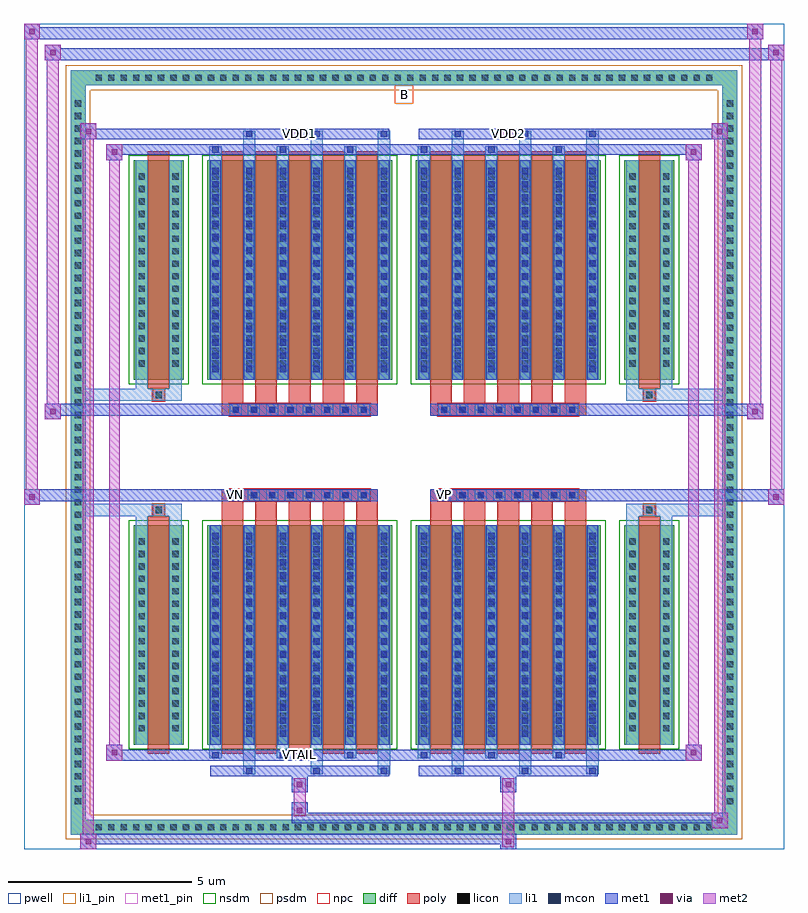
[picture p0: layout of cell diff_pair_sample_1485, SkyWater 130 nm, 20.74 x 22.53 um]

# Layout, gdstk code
import gdstk
lib = gdstk.Library(unit=1e-6, precision=5e-09)
def R(c, l, rs):  # rectangles x0, y0, x1, y1
    for r in rs: c.add(gdstk.rectangle(r[:2], r[2:], *l))
def A(c, l, x, y, w, h, nx, ny, dx, dy):  # array of equal rectangles
    R(c, l, [(x+i*dx, y+j*dy, x+i*dx+w, y+j*dy+h) for i in range(nx) for j in range(ny)])
def P(c, l, *ps):  # polygons
    for p in ps: c.add(gdstk.Polygon(p, *l))
pwell = (64, 44)
diff = (65, 20)
poly = (66, 20)
licon = (66, 44)
li1_pin = (67, 16)
li1 = (67, 20)
mcon = (67, 44)
met1_pin = (68, 16)
met1 = (68, 20)
via = (68, 44)
met2 = (69, 20)
nsdm = (93, 44)
psdm = (94, 20)
npc = (95, 20)

diff_pair_sample_1485 = lib.new_cell('diff_pair_sample_1485')
R(diff_pair_sample_1485, pwell, [(-10.37,-10.83,10.37,11.7), (-7.69,-9.02,-0.01,-0.8), (0.01,-9.02,7.69,-0.8), (-7.69,0.8,-0.01,9.02), (0.01,0.8,7.69,9.02)])
A(diff_pair_sample_1485, diff, -8.535, -10.43, 0.41, 0.41, 50, 2, 0.34, 20.45)
A(diff_pair_sample_1485, diff, -9.1, -9.725, 0.41, 0.41, 1, 57, 0, 0.34)
A(diff_pair_sample_1485, diff, 8.69, -9.725, 0.41, 0.41, 1, 57, 0, 0.34)
R(diff_pair_sample_1485, diff, [(-8.535,-10.43,8.535,-10.02), (-9.1,-9.725,-8.69,9.725), (8.69,-9.725,9.1,9.725), (-7.38,-7.975,-6.01,-1.985), (-5.37,-7.975,-0.32,-1.985), (0.32,-7.975,5.37,-1.985), (6.01,-7.975,7.38,-1.985), (-7.38,1.985,-6.01,7.975), (-5.37,1.985,-0.32,7.975), (0.32,1.985,5.37,7.975), (6.01,1.985,7.38,7.975), (-8.535,10.02,8.535,10.43)])
P(diff_pair_sample_1485, diff, [(9.1,10.43),(-9.1,10.43),(-9.1,-10.02),(-8.69,-10.02),(-8.69,10.02),(8.69,10.02),(8.69,-10.02),(-8.69,-10.02),(-9.1,-10.02),(-9.1,-10.43),(9.1,-10.43)])
A(diff_pair_sample_1485, poly, -4.98, -8.225, 0.59, 6.49, 5, 2, 0.92, 9.96)
A(diff_pair_sample_1485, poly, 0.71, -8.225, 0.59, 6.49, 5, 2, 0.92, 9.96)
A(diff_pair_sample_1485, poly, -4.98, -1.735, 0.59, 0.405, 5, 2, 0.92, 3.065)
A(diff_pair_sample_1485, poly, 0.71, -1.735, 0.59, 0.405, 5, 2, 0.92, 3.065)
A(diff_pair_sample_1485, poly, -4.76, -1.33, 0.33, 0.33, 8, 2, 0.5, 2.33)
A(diff_pair_sample_1485, poly, 0.93, -1.33, 0.33, 0.33, 8, 2, 0.5, 2.33)
R(diff_pair_sample_1485, poly, [(-6.99,-8.225,-6.4,-1.735), (6.4,-8.225,6.99,-1.735), (-6.86,-1.735,-6.53,-1.405), (-6.86,-1.735,-6.53,-1.405), (6.53,-1.735,6.86,-1.405), (6.53,-1.735,6.86,-1.405), (-4.98,-1.33,-0.71,-1), (0.71,-1.33,4.98,-1), (-4.98,1,-0.71,1.33), (0.71,1,4.98,1.33), (-6.86,1.405,-6.53,1.735), (-6.86,1.405,-6.53,1.735), (6.53,1.405,6.86,1.735), (6.53,1.405,6.86,1.735), (-6.99,1.735,-6.4,8.225), (6.4,1.735,6.99,8.225)])
A(diff_pair_sample_1485, licon, -8.415, -10.31, 0.17, 0.17, 50, 2, 0.34, 20.45)
A(diff_pair_sample_1485, licon, -8.98, -9.605, 0.17, 0.17, 1, 57, 0, 0.34)
A(diff_pair_sample_1485, licon, 8.81, -9.605, 0.17, 0.17, 1, 57, 0, 0.34)
A(diff_pair_sample_1485, licon, -7.24, -7.615, 0.17, 0.17, 1, 16, 0, 0.34)
A(diff_pair_sample_1485, licon, -6.32, -7.615, 0.17, 0.17, 1, 16, 0, 0.34)
A(diff_pair_sample_1485, licon, -5.23, -7.615, 0.17, 0.17, 6, 16, 0.92, 0.34)
A(diff_pair_sample_1485, licon, 0.46, -7.615, 0.17, 0.17, 6, 16, 0.92, 0.34)
A(diff_pair_sample_1485, licon, 6.15, -7.615, 0.17, 0.17, 1, 16, 0, 0.34)
A(diff_pair_sample_1485, licon, 7.07, -7.615, 0.17, 0.17, 1, 16, 0, 0.34)
A(diff_pair_sample_1485, licon, -4.68, -1.25, 0.17, 0.17, 8, 2, 0.5, 2.33)
A(diff_pair_sample_1485, licon, 1.01, -1.25, 0.17, 0.17, 8, 2, 0.5, 2.33)
A(diff_pair_sample_1485, licon, -7.24, 2.345, 0.17, 0.17, 1, 16, 0, 0.34)
A(diff_pair_sample_1485, licon, -6.32, 2.345, 0.17, 0.17, 1, 16, 0, 0.34)
A(diff_pair_sample_1485, licon, -5.23, 2.345, 0.17, 0.17, 6, 16, 0.92, 0.34)
A(diff_pair_sample_1485, licon, 0.46, 2.345, 0.17, 0.17, 6, 16, 0.92, 0.34)
A(diff_pair_sample_1485, licon, 6.15, 2.345, 0.17, 0.17, 1, 16, 0, 0.34)
A(diff_pair_sample_1485, licon, 7.07, 2.345, 0.17, 0.17, 1, 16, 0, 0.34)
R(diff_pair_sample_1485, licon, [(-6.78,-1.655,-6.61,-1.485), (6.61,-1.655,6.78,-1.485), (-6.78,1.485,-6.61,1.655), (6.61,1.485,6.78,1.655)])
R(diff_pair_sample_1485, li1_pin, [(-0.25,9.52,0.25,10.02)])
A(diff_pair_sample_1485, li1, -8.495, -10.39, 0.33, 0.33, 50, 2, 0.34, 20.45)
A(diff_pair_sample_1485, li1, -9.06, -9.685, 0.33, 0.33, 1, 57, 0, 0.34)
A(diff_pair_sample_1485, li1, 8.73, -9.685, 0.33, 0.33, 1, 57, 0, 0.34)
A(diff_pair_sample_1485, li1, -4.39, -8.78, 0.33, 0.805, 3, 2, 1.84, 16.755)
A(diff_pair_sample_1485, li1, -4.31, -8.78, 0.17, 0.17, 3, 2, 1.84, 17.39)
A(diff_pair_sample_1485, li1, 1.3, -8.78, 0.33, 0.805, 3, 2, 1.84, 16.755)
A(diff_pair_sample_1485, li1, 1.38, -8.78, 0.17, 0.17, 3, 2, 1.84, 17.39)
A(diff_pair_sample_1485, li1, -5.31, -8.35, 0.33, 0.375, 3, 2, 1.84, 16.325)
A(diff_pair_sample_1485, li1, -5.23, -8.35, 0.17, 0.17, 3, 2, 1.84, 16.53)
A(diff_pair_sample_1485, li1, 0.38, -8.35, 0.33, 0.375, 3, 2, 1.84, 16.325)
A(diff_pair_sample_1485, li1, 0.46, -8.35, 0.17, 0.17, 3, 2, 1.84, 16.53)
A(diff_pair_sample_1485, li1, -5.31, -7.975, 0.33, 5.99, 6, 2, 0.92, 9.96)
A(diff_pair_sample_1485, li1, 0.38, -7.975, 0.33, 5.99, 6, 2, 0.92, 9.96)
A(diff_pair_sample_1485, li1, -5.23, -7.765, 0.17, 0.17, 6, 16, 0.92, 0.36)
A(diff_pair_sample_1485, li1, -5.23, -7.765, 0.17, 5.57, 6, 2, 0.92, 9.96)
A(diff_pair_sample_1485, li1, 0.46, -7.765, 0.17, 0.17, 6, 16, 0.92, 0.36)
A(diff_pair_sample_1485, li1, 0.46, -7.765, 0.17, 5.57, 6, 2, 0.92, 9.96)
A(diff_pair_sample_1485, li1, -7.32, -7.695, 0.33, 0.33, 1, 16, 0, 0.34)
A(diff_pair_sample_1485, li1, -6.4, -7.695, 0.33, 0.33, 1, 16, 0, 0.34)
A(diff_pair_sample_1485, li1, -5.31, -7.695, 0.33, 0.33, 6, 16, 0.92, 0.34)
A(diff_pair_sample_1485, li1, 0.38, -7.695, 0.33, 0.33, 6, 16, 0.92, 0.34)
A(diff_pair_sample_1485, li1, 6.07, -7.695, 0.33, 0.33, 1, 16, 0, 0.34)
A(diff_pair_sample_1485, li1, 6.99, -7.695, 0.33, 0.33, 1, 16, 0, 0.34)
A(diff_pair_sample_1485, li1, -4.76, -1.33, 0.33, 0.33, 8, 2, 0.5, 2.33)
A(diff_pair_sample_1485, li1, 0.93, -1.33, 0.33, 0.33, 8, 2, 0.5, 2.33)
A(diff_pair_sample_1485, li1, -5.23, 2.195, 0.17, 0.17, 6, 16, 0.92, 0.36)
A(diff_pair_sample_1485, li1, 0.46, 2.195, 0.17, 0.17, 6, 16, 0.92, 0.36)
A(diff_pair_sample_1485, li1, -7.32, 2.265, 0.33, 0.33, 1, 16, 0, 0.34)
A(diff_pair_sample_1485, li1, -6.4, 2.265, 0.33, 0.33, 1, 16, 0, 0.34)
A(diff_pair_sample_1485, li1, -5.31, 2.265, 0.33, 0.33, 6, 16, 0.92, 0.34)
A(diff_pair_sample_1485, li1, 0.38, 2.265, 0.33, 0.33, 6, 16, 0.92, 0.34)
A(diff_pair_sample_1485, li1, 6.07, 2.265, 0.33, 0.33, 1, 16, 0, 0.34)
A(diff_pair_sample_1485, li1, 6.99, 2.265, 0.33, 0.33, 1, 16, 0, 0.34)
R(diff_pair_sample_1485, li1, [(-9.1,-10.43,-8.69,-10.02), (-9.1,-10.43,-8.69,-10.02), (-8.69,-10.43,8.69,-10.02), (8.69,-10.43,9.1,-10.02), (8.69,-10.43,9.1,-10.02), (-9.1,-10.02,-8.69,10.02), (8.69,-10.02,9.1,10.02), (-7.32,-7.975,-6.99,-1.985), (-6.4,-7.975,-6.07,-1.985), (6.07,-7.975,6.4,-1.985), (6.99,-7.975,7.32,-1.985), (-7.32,-1.985,-6.99,-1.405), (-6.4,-1.985,-6.07,-1.405), (6.07,-1.985,6.4,-1.405), (6.99,-1.985,7.32,-1.405), (-9.1,-1.735,-6.86,-1.405), (-7.32,-1.735,-6.86,-1.405), (-6.86,-1.735,-6.53,-1.405), (-6.53,-1.735,-6.07,-1.405), (6.07,-1.735,6.53,-1.405), (6.53,-1.735,6.86,-1.405), (6.53,-1.735,9.1,-1.405), (6.86,-1.735,7.32,-1.405), (-9.1,1.405,-6.86,1.735), (-7.32,1.405,-6.86,1.735), (-7.32,1.405,-6.99,1.985), (-6.86,1.405,-6.53,1.735), (-6.53,1.405,-6.07,1.735), (-6.4,1.405,-6.07,1.985), (6.07,1.405,6.53,1.735), (6.07,1.405,6.4,1.985), (6.53,1.405,6.86,1.735), (6.53,1.405,9.1,1.735), (6.86,1.405,7.32,1.735), (6.99,1.405,7.32,1.985), (-7.32,1.985,-6.99,7.975), (-6.4,1.985,-6.07,7.975), (6.07,1.985,6.4,7.975), (6.99,1.985,7.32,7.975), (-9.1,10.02,-8.69,10.43), (-9.1,10.02,-8.69,10.43), (-8.69,10.02,8.69,10.43), (8.69,10.02,9.1,10.43), (8.69,10.02,9.1,10.43)])
A(diff_pair_sample_1485, mcon, -4.31, -8.78, 0.17, 0.17, 3, 2, 1.84, 17.39)
A(diff_pair_sample_1485, mcon, 1.38, -8.78, 0.17, 0.17, 3, 2, 1.84, 17.39)
A(diff_pair_sample_1485, mcon, -5.23, -8.35, 0.17, 0.17, 3, 2, 1.84, 16.53)
A(diff_pair_sample_1485, mcon, 0.46, -8.35, 0.17, 0.17, 3, 2, 1.84, 16.53)
A(diff_pair_sample_1485, mcon, -5.23, -7.765, 0.17, 0.17, 6, 16, 0.92, 0.36)
A(diff_pair_sample_1485, mcon, 0.46, -7.765, 0.17, 0.17, 6, 16, 0.92, 0.36)
A(diff_pair_sample_1485, mcon, -4.68, -1.25, 0.17, 0.17, 8, 2, 0.5, 2.33)
A(diff_pair_sample_1485, mcon, 1.01, -1.25, 0.17, 0.17, 8, 2, 0.5, 2.33)
A(diff_pair_sample_1485, mcon, -5.23, 2.195, 0.17, 0.17, 6, 16, 0.92, 0.36)
A(diff_pair_sample_1485, mcon, 0.46, 2.195, 0.17, 0.17, 6, 16, 0.92, 0.36)
R(diff_pair_sample_1485, met1_pin, [(-2.98,-8.39,-2.71,-8.12), (-4.73,-1.29,-4.46,-1.02), (0.96,-1.29,1.23,-1.02), (-2.98,8.57,-2.71,8.84), (2.71,8.57,2.98,8.84)])
A(diff_pair_sample_1485, met1, -4.37, -8.84, 0.29, 0.29, 3, 2, 1.84, 17.39)
A(diff_pair_sample_1485, met1, 1.32, -8.84, 0.29, 0.29, 3, 2, 1.84, 17.39)
A(diff_pair_sample_1485, met1, -5.29, -8.41, 0.29, 0.29, 3, 2, 1.84, 16.53)
A(diff_pair_sample_1485, met1, 0.4, -8.41, 0.29, 0.29, 3, 2, 1.84, 16.53)
A(diff_pair_sample_1485, met1, -5.29, -7.975, 0.29, 5.99, 6, 2, 0.92, 9.96)
A(diff_pair_sample_1485, met1, 0.4, -7.975, 0.29, 5.99, 6, 2, 0.92, 9.96)
A(diff_pair_sample_1485, met1, -5.29, -7.825, 0.29, 0.29, 6, 16, 0.92, 0.36)
A(diff_pair_sample_1485, met1, 0.4, -7.825, 0.29, 0.29, 6, 16, 0.92, 0.36)
A(diff_pair_sample_1485, met1, -4.74, -1.31, 0.29, 0.29, 8, 2, 0.5, 2.33)
A(diff_pair_sample_1485, met1, 0.95, -1.31, 0.29, 0.29, 8, 2, 0.5, 2.33)
A(diff_pair_sample_1485, met1, -5.29, 2.135, 0.29, 0.29, 6, 16, 0.92, 0.36)
A(diff_pair_sample_1485, met1, 0.4, 2.135, 0.29, 0.29, 6, 16, 0.92, 0.36)
R(diff_pair_sample_1485, met1, [(-8.83,-10.83,-8.4,-10.4), (2.63,-10.83,3.06,-10.4), (-8.83,-10.69,3.06,-10.4), (8.4,-10.26,8.83,-9.83), (-3.06,-10.12,8.83,-9.83), (-3.06,-9.98,-2.63,-9.55), (-3.06,-9.27,-2.63,-8.84), (2.63,-9.27,3.06,-8.84), (-5.29,-8.84,-0.4,-8.55), (0.4,-8.84,5.29,-8.55), (-8.12,-8.41,-7.69,-7.98), (-8.12,-8.41,-5.29,-8.12), (-5.29,-8.41,-0.4,-8.12), (-0.4,-8.41,0.4,-8.12), (0.4,-8.41,5.29,-8.12), (5.29,-8.41,8.12,-8.12), (7.69,-8.41,8.12,-7.98), (-10.37,-1.43,-9.94,-1), (9.94,-1.43,10.37,-1), (-10.37,-1.33,-0.71,-1), (-4.98,-1.33,-0.71,-1), (0.71,-1.33,4.98,-1), (0.71,-1.33,10.37,-1), (-9.8,0.9,-9.37,1.33), (9.37,0.9,9.8,1.33), (-9.8,1,-4.98,1.33), (-4.98,1,-0.71,1.33), (0.71,1,4.98,1.33), (4.98,1,9.8,1.33), (-8.12,7.98,-7.69,8.41), (7.69,7.98,8.12,8.41), (-8.12,8.12,-5.29,8.41), (-5.29,8.12,-0.4,8.41), (-0.4,8.12,0.4,8.41), (0.4,8.12,5.29,8.41), (5.29,8.12,8.12,8.41), (-8.83,8.55,-8.4,8.98), (-8.83,8.55,-5.29,8.84), (-5.29,8.55,-0.4,8.84), (0.4,8.55,5.29,8.84), (5.29,8.55,8.83,8.84), (8.4,8.55,8.83,8.98), (-9.8,10.7,-9.37,11.13), (-9.8,10.7,-7.69,11.03), (-7.69,10.7,7.69,11.03), (7.69,10.7,10.37,11.03), (9.94,10.7,10.37,11.13), (-10.37,11.27,-9.94,11.7), (-10.37,11.27,-7.69,11.6), (-7.69,11.27,7.69,11.6), (7.69,11.27,9.8,11.6), (9.37,11.27,9.8,11.7)])
R(diff_pair_sample_1485, via, [(-8.69,-10.69,-8.54,-10.54), (2.77,-10.69,2.92,-10.54), (8.54,-10.12,8.69,-9.97), (-2.92,-9.84,-2.77,-9.69), (-2.92,-9.13,-2.77,-8.98), (2.77,-9.13,2.92,-8.98), (-7.98,-8.27,-7.83,-8.12), (7.83,-8.27,7.98,-8.12), (-10.23,-1.29,-10.08,-1.14), (10.08,-1.29,10.23,-1.14), (-9.66,1.04,-9.51,1.19), (9.51,1.04,9.66,1.19), (-7.98,8.12,-7.83,8.27), (7.83,8.12,7.98,8.27), (-8.69,8.69,-8.54,8.84), (8.54,8.69,8.69,8.84), (-9.66,10.84,-9.51,10.99), (10.08,10.84,10.23,10.99), (-10.23,11.41,-10.08,11.56), (9.51,11.41,9.66,11.56)])
R(diff_pair_sample_1485, met2, [(-8.83,-10.83,-8.4,-10.4), (-8.76,-10.83,-8.47,8.98), (-8.47,-10.83,-8.4,-10.4), (-8.78,-10.78,-8.45,-10.45), (2.68,-10.78,3.01,-10.45), (2.68,-10.45,3.01,-9.22), (8.4,-10.26,8.83,-9.83), (8.47,-10.26,8.76,8.98), (8.76,-10.26,8.83,-9.83), (8.45,-10.21,8.78,-9.88), (-3.01,-9.93,-2.68,-9.6), (-3.01,-9.6,-2.68,-9.22), (-3.01,-9.22,-2.68,-8.89), (2.68,-9.22,3.01,-8.89), (-8.12,-8.41,-7.69,-7.98), (-8.05,-8.41,-7.76,8.41), (-7.76,-8.41,-7.69,-7.98), (7.69,-8.41,8.12,-7.98), (7.76,-8.41,8.05,8.41), (8.05,-8.41,8.12,-7.98), (-8.07,-8.36,-7.74,-8.03), (7.74,-8.36,8.07,-8.03), (-10.37,-1.43,-9.94,-1), (-10.32,-1.43,-9.99,11.7), (-9.99,-1.43,-9.94,-1), (9.94,-1.43,10.37,-1), (9.99,-1.43,10.32,11.13), (10.32,-1.43,10.37,-1), (-10.32,-1.38,-9.99,-1.05), (9.99,-1.38,10.32,-1.05), (-9.8,0.9,-9.37,1.33), (-9.75,0.9,-9.42,11.13), (-9.42,0.9,-9.37,1.33), (9.37,0.9,9.8,1.33), (9.42,0.9,9.75,11.7), (9.75,0.9,9.8,1.33), (-9.75,0.95,-9.42,1.28), (9.42,0.95,9.75,1.28), (-8.12,7.98,-7.69,8.41), (-7.76,7.98,-7.69,8.41), (7.69,7.98,8.12,8.41), (8.05,7.98,8.12,8.41), (-8.07,8.03,-7.74,8.36), (7.74,8.03,8.07,8.36), (-8.83,8.55,-8.4,8.98), (-8.47,8.55,-8.4,8.98), (8.4,8.55,8.83,8.98), (8.76,8.55,8.83,8.98), (-8.78,8.6,-8.45,8.93), (8.45,8.6,8.78,8.93), (-9.8,10.7,-9.37,11.13), (-9.42,10.7,-9.37,11.13), (9.94,10.7,10.37,11.13), (10.32,10.7,10.37,11.13), (-9.75,10.75,-9.42,11.08), (9.99,10.75,10.32,11.08), (-10.37,11.27,-9.94,11.7), (-9.99,11.27,-9.94,11.7), (9.37,11.27,9.8,11.7), (9.75,11.27,9.8,11.7), (-10.32,11.32,-9.99,11.65), (9.42,11.32,9.75,11.65)])
R(diff_pair_sample_1485, nsdm, [(-7.51,-8.105,-5.88,-1.855), (-5.5,-8.105,-0.19,-1.855), (0.19,-8.105,5.5,-1.855), (5.88,-8.105,7.51,-1.855), (-7.51,1.855,-5.88,8.105), (-5.5,1.855,-0.19,8.105), (0.19,1.855,5.5,8.105), (5.88,1.855,7.51,8.105)])
P(diff_pair_sample_1485, psdm, [(9.23,10.56),(-9.23,10.56),(-9.23,-9.89),(-8.56,-9.89),(-8.56,9.89),(8.56,9.89),(8.56,-9.89),(-8.56,-9.89),(-9.23,-9.89),(-9.23,-10.56),(9.23,-10.56)])
A(diff_pair_sample_1485, npc, -4.78, -1.35, 0.37, 0.37, 8, 2, 0.5, 2.33)
A(diff_pair_sample_1485, npc, 0.91, -1.35, 0.37, 0.37, 8, 2, 0.5, 2.33)
R(diff_pair_sample_1485, npc, [(-6.88,-1.755,-6.51,-1.385), (6.51,-1.755,6.88,-1.385), (-4.78,-1.35,-3.91,-0.98), (-4.78,-1.35,-3.91,-0.98), (-4.28,-1.35,-3.41,-0.98), (-4.28,-1.35,-3.41,-0.98), (-3.78,-1.35,-2.91,-0.98), (-3.78,-1.35,-2.91,-0.98), (-3.28,-1.35,-2.41,-0.98), (-3.28,-1.35,-2.41,-0.98), (-2.78,-1.35,-1.91,-0.98), (-2.78,-1.35,-1.91,-0.98), (-2.28,-1.35,-1.41,-0.98), (-2.28,-1.35,-1.41,-0.98), (-1.78,-1.35,-0.91,-0.98), (-1.78,-1.35,-0.91,-0.98), (0.91,-1.35,1.78,-0.98), (0.91,-1.35,1.78,-0.98), (1.41,-1.35,2.28,-0.98), (1.41,-1.35,2.28,-0.98), (1.91,-1.35,2.78,-0.98), (1.91,-1.35,2.78,-0.98), (2.41,-1.35,3.28,-0.98), (2.41,-1.35,3.28,-0.98), (2.91,-1.35,3.78,-0.98), (2.91,-1.35,3.78,-0.98), (3.41,-1.35,4.28,-0.98), (3.41,-1.35,4.28,-0.98), (3.91,-1.35,4.78,-0.98), (3.91,-1.35,4.78,-0.98), (-4.78,0.98,-3.91,1.35), (-4.78,0.98,-3.91,1.35), (-4.28,0.98,-3.41,1.35), (-4.28,0.98,-3.41,1.35), (-3.78,0.98,-2.91,1.35), (-3.78,0.98,-2.91,1.35), (-3.28,0.98,-2.41,1.35), (-3.28,0.98,-2.41,1.35), (-2.78,0.98,-1.91,1.35), (-2.78,0.98,-1.91,1.35), (-2.28,0.98,-1.41,1.35), (-2.28,0.98,-1.41,1.35), (-1.78,0.98,-0.91,1.35), (-1.78,0.98,-0.91,1.35), (0.91,0.98,1.78,1.35), (0.91,0.98,1.78,1.35), (1.41,0.98,2.28,1.35), (1.41,0.98,2.28,1.35), (1.91,0.98,2.78,1.35), (1.91,0.98,2.78,1.35), (2.41,0.98,3.28,1.35), (2.41,0.98,3.28,1.35), (2.91,0.98,3.78,1.35), (2.91,0.98,3.78,1.35), (3.41,0.98,4.28,1.35), (3.41,0.98,4.28,1.35), (3.91,0.98,4.78,1.35), (3.91,0.98,4.78,1.35), (-6.88,1.385,-6.51,1.755), (6.51,1.385,6.88,1.755)])
diff_pair_sample_1485.add(gdstk.Label('VTAIL', (-2.845,-8.255), layer=68, texttype=5))
diff_pair_sample_1485.add(gdstk.Label('VN', (-4.595,-1.155), layer=68, texttype=5))
diff_pair_sample_1485.add(gdstk.Label('VP', (1.095,-1.155), layer=68, texttype=5))
diff_pair_sample_1485.add(gdstk.Label('B', (0,9.77), layer=67, texttype=5))
diff_pair_sample_1485.add(gdstk.Label('VDD2', (2.845,8.705), layer=68, texttype=5))
diff_pair_sample_1485.add(gdstk.Label('VDD1', (-2.845,8.705), layer=68, texttype=5))

lib.write_gds('diff_pair_sample_1485.gds')
